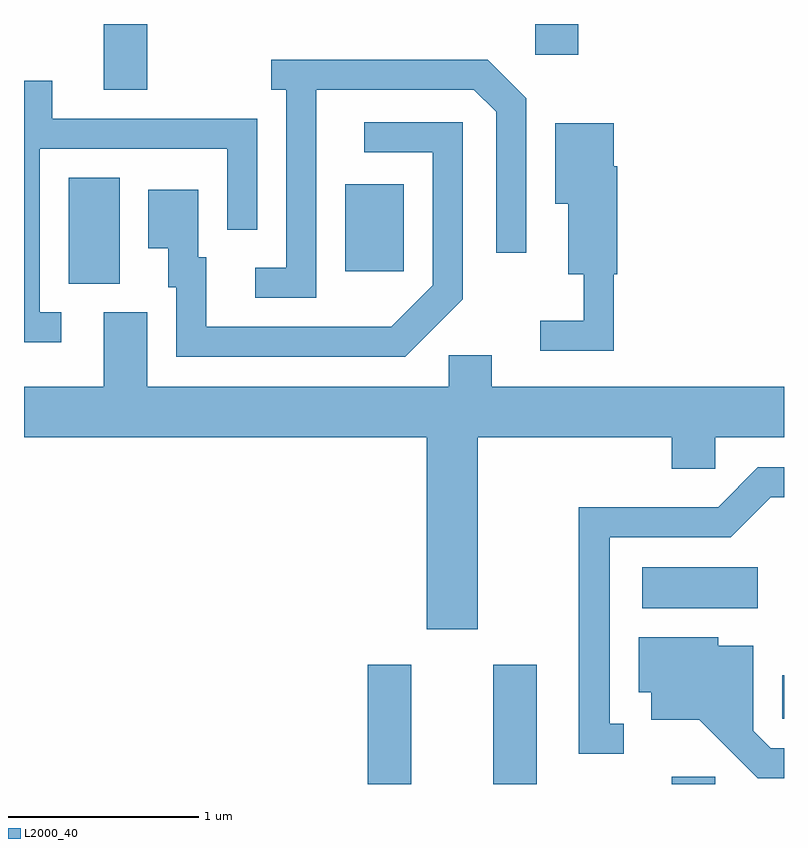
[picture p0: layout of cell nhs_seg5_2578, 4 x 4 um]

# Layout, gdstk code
import gdstk
lib = gdstk.Library(unit=1e-6, precision=1e-09)
def R(c, l, rs):  # rectangles x0, y0, x1, y1
    for r in rs: c.add(gdstk.rectangle(r[:2], r[2:], *l))
def P(c, l, *ps):  # polygons
    for p in ps: c.add(gdstk.Polygon(p, *l))
L2000_40 = (2000, 40)

nhs_seg5_2578 = lib.new_cell('nhs_seg5_2578')
R(nhs_seg5_2578, L2000_40, [(263.421,1466.072,263.649,1466.699), (264.081,1466.072,264.309,1466.699), (265.021,1466.072,265.249,1466.109), (265.601,1466.416,265.611,1466.644), (264.866,1466.996,265.474,1467.214), (261.846,1468.706,262.114,1469.264), (263.301,1468.771,263.609,1469.229), (262.031,1469.726,262.259,1470.072), (264.301,1469.911,264.529,1470.072)])
P(nhs_seg5_2578, L2000_40, [(263.149,1469.726),(263.979,1469.726),(264.096,1469.609),(264.096,1468.868),(264.254,1468.868),(264.254,1469.682),(264.052,1469.884),(262.913,1469.884),(262.913,1469.726),(262.991,1469.726),(262.991,1468.789),(262.828,1468.789),(262.828,1468.631),(263.149,1468.631)],
  [(261.808,1468.554),(261.694,1468.554),(261.694,1469.416),(262.681,1469.416),(262.681,1468.988),(262.839,1468.988),(262.839,1469.574),(261.759,1469.574),(261.759,1469.774),(261.611,1469.774),(261.611,1468.396),(261.808,1468.396)],
  [(263.919,1468.624),(263.919,1469.554),(263.403,1469.554),(263.403,1469.396),(263.761,1469.396),(263.761,1468.697),(263.544,1468.479),(262.569,1468.479),(262.569,1468.844),(262.529,1468.844),(262.529,1469.199),(262.266,1469.199),(262.266,1468.891),(262.371,1468.891),(262.371,1468.686),(262.411,1468.686),(262.411,1468.321),(263.617,1468.321)],
  [(264.714,1468.756),(264.734,1468.756),(264.734,1469.324),(264.714,1469.324),(264.714,1469.549),(264.406,1469.549),(264.406,1469.126),(264.476,1469.126),(264.476,1468.756),(264.556,1468.756),(264.556,1468.509),(264.328,1468.509),(264.328,1468.351),(264.714,1468.351)],
  [(263.999,1467.896),(265.021,1467.896),(265.021,1467.731),(265.249,1467.731),(265.249,1467.896),(265.611,1467.896),(265.611,1468.164),(264.074,1468.164),(264.074,1468.329),(263.846,1468.329),(263.846,1468.164),(262.259,1468.164),(262.259,1468.554),(262.031,1468.554),(262.031,1468.164),(261.611,1468.164),(261.611,1467.896),(263.731,1467.896),(263.731,1466.886),(263.999,1466.886)],
  [(264.768,1466.389),(264.694,1466.389),(264.694,1467.371),(265.332,1467.371),(265.542,1467.581),(265.611,1467.581),(265.611,1467.739),(265.474,1467.739),(265.264,1467.529),(264.531,1467.529),(264.531,1466.231),(264.768,1466.231)],
  [(265.611,1466.259),(265.542,1466.259),(265.449,1466.352),(265.449,1466.799),(265.264,1466.799),(265.264,1466.844),(264.846,1466.844),(264.846,1466.556),(264.911,1466.556),(264.911,1466.411),(265.164,1466.411),(265.474,1466.101),(265.611,1466.101)])

lib.write_gds('nhs_seg5_2578.gds')
